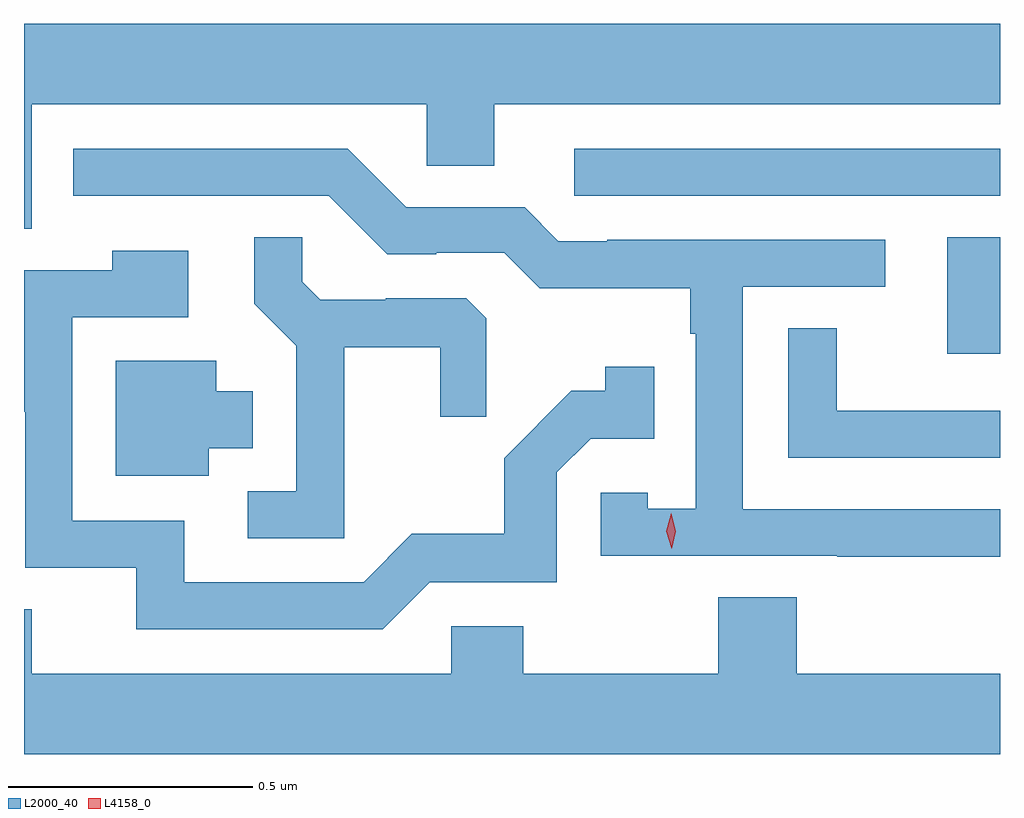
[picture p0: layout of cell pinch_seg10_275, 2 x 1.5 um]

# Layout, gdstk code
import gdstk
lib = gdstk.Library(unit=1e-6, precision=1e-09)
def R(c, l, rs):  # rectangles x0, y0, x1, y1
    for r in rs: c.add(gdstk.rectangle(r[:2], r[2:], *l))
def P(c, l, *ps):  # polygons
    for p in ps: c.add(gdstk.Polygon(p, *l))
L2000_40 = (2000, 40)
L4158_0 = (4158, 0)

pinch_seg10_275 = lib.new_cell('pinch_seg10_275')
R(pinch_seg10_275, L2000_40, [(530.213,1318.452,530.321,1318.691), (529.449,1318.776,530.321,1318.872)])
P(pinch_seg10_275, L2000_40, [(528.337,1318.964),(529.146,1318.964),(529.146,1318.837),(529.285,1318.837),(529.285,1318.964),(530.321,1318.964),(530.321,1319.128),(528.321,1319.128),(528.321,1318.708),(528.337,1318.708)],
  [(530.321,1318.134),(529.794,1318.134),(529.794,1318.59),(530.086,1318.59),(530.086,1318.686),(529.516,1318.686),(529.516,1318.683),(529.416,1318.683),(529.347,1318.752),(529.104,1318.752),(528.984,1318.872),(528.422,1318.872),(528.422,1318.776),(528.945,1318.776),(529.065,1318.656),(529.166,1318.656),(529.166,1318.659),(529.305,1318.659),(529.378,1318.586),(529.686,1318.586),(529.686,1318.493),(529.698,1318.493),(529.698,1318.135),(529.599,1318.135),(529.599,1318.167),(529.503,1318.167),(529.503,1318.038),(529.987,1318.038),(529.987,1318.036),(530.321,1318.036)],
  [(528.977,1318.466),(529.174,1318.466),(529.174,1318.323),(529.268,1318.323),(529.268,1318.525),(529.227,1318.566),(529.062,1318.566),(529.062,1318.563),(528.928,1318.563),(528.891,1318.6),(528.891,1318.691),(528.793,1318.691),(528.793,1318.555),(528.879,1318.469),(528.879,1318.17),(528.78,1318.17),(528.78,1318.074),(528.977,1318.074)],
  [(529.152,1317.984),(529.413,1317.984),(529.413,1318.209),(529.482,1318.278),(529.613,1318.278),(529.613,1318.426),(529.512,1318.426),(529.512,1318.376),(529.442,1318.376),(529.305,1318.238),(529.305,1318.083),(529.116,1318.083),(529.017,1317.984),(528.649,1317.984),(528.649,1318.11),(528.42,1318.11),(528.42,1318.527),(528.658,1318.527),(528.658,1318.663),(528.502,1318.663),(528.502,1318.623),(528.321,1318.623),(528.321,1318.333),(528.324,1318.333),(528.324,1318.014),(528.551,1318.014),(528.551,1317.888),(529.056,1317.888)],
  [(530.321,1318.335),(529.986,1318.335),(529.986,1318.505),(529.887,1318.505),(529.887,1318.239),(530.321,1318.239)],
  [(528.7,1318.259),(528.79,1318.259),(528.79,1318.375),(528.715,1318.375),(528.715,1318.438),(528.509,1318.438),(528.509,1318.202),(528.7,1318.202)],
  [(530.321,1317.796),(529.904,1317.796),(529.904,1317.953),(529.744,1317.953),(529.744,1317.796),(529.344,1317.796),(529.344,1317.894),(529.197,1317.894),(529.197,1317.796),(528.337,1317.796),(528.337,1317.929),(528.321,1317.929),(528.321,1317.632),(530.321,1317.632)])
P(pinch_seg10_275, L4158_0, [(529.648,1318.053),(529.648,1318.053),(529.637,1318.089),(529.647,1318.125),(529.647,1318.125),(529.647,1318.125),(529.657,1318.089),(529.648,1318.053)])

lib.write_gds('pinch_seg10_275.gds')
